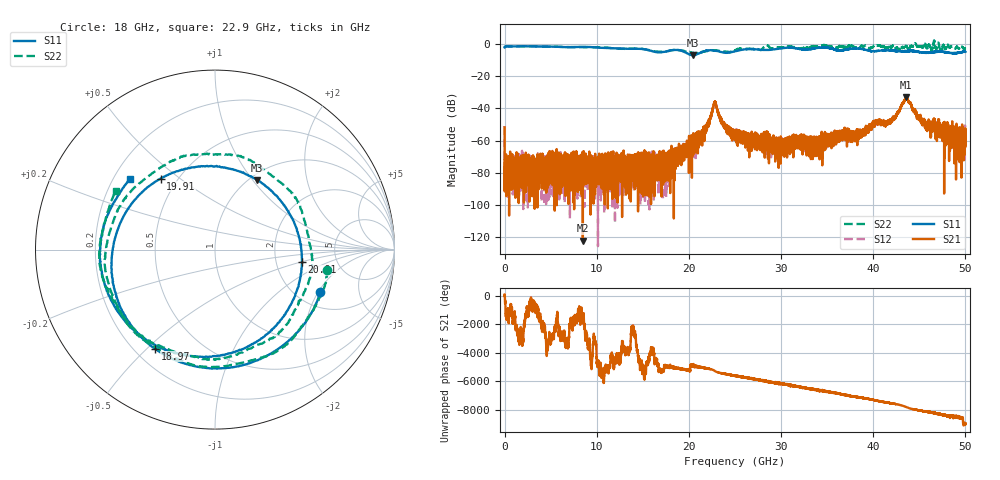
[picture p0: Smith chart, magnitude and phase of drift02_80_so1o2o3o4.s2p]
!Created with skrf (http://scikit-rf.org).
# Hz S RI R 50.0
!freq ReS11 ImS11 ReS21 ImS21 ReS12 ImS12 ReS22 ImS22
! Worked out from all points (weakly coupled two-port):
!   10001 points, 300 kHz to 50 GHz, reference 50 ohm
!   highest |S21| = -33.01 dB at 43.59 GHz (marker M1); lowest = -122.1 dB at 8.49 GHz (marker M2)
!   lowest |S11| = -6.9 dB at 20.41 GHz (marker M3), VSWR 2.65, Z = 54 + j52.4 ohm
!   |S11| at or under -10 dB: nowhere
!   |S22| runs from -5.7 to 2.2 dB; largest |S21 - S12| = 0.0032
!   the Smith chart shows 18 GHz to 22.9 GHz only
!   S11 on the Smith chart (normalised r, x): 18 GHz: 2.64, -2.09; 18.97 GHz: 0.28, -0.53; 19.91 GHz: 0.40, +0.43; 20.91 GHz: 2.81, -0.53; 22.9 GHz: 0.27, +0.34
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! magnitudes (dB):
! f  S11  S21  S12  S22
! 300 kHz  -2.1  -51.8  -51.0  -2.0
! 300.3 MHz  -1.4  -81.7  -79.1  -1.4
! 8.335 GHz  -1.7  -77.9  -75.0  -1.9
! 8.49 GHz  -1.7  -122.1  -77.9  -1.9
! 16.67 GHz  -5.2  -72.3  -81.4  -4.7
! 18 GHz  -4.0  -69.8  -71.3  -3.9
! 18.97 GHz  -3.8  -69.6  -73.3  -3.9
! 19.91 GHz  -6.0  -64.2  -65.1  -5.2
! 20.41 GHz  -6.9  -69.6  -63.7  -5.4
! 20.91 GHz  -6.2  -64.5  -61.3  -5.6
! 21.91 GHz  -4.1  -50.3  -51.4  -4.3
! 22.9 GHz  -4.2  -36.7  -36.8  -3.9
! 23.77 GHz  -5.3  -51.0  -49.5  -4.6
! 25 GHz  -4.5  -57.3  -59.0  -3.9
! 29.8 GHz  -2.8  -61.1  -69.1  -2.0
! 33.34 GHz  -3.0  -60.0  -65.2  -1.5
! 38.26 GHz  -2.7  -55.9  -55.1  -2.2
! 40.32 GHz  -4.4  -49.3  -49.6  -0.8
! 41.67 GHz  -3.9  -47.6  -47.4  -1.9
! 43.59 GHz  -4.6  -33.0  -33.3  -1.5
! 45.64 GHz  -5.3  -49.3  -49.8  0.0
! 50 GHz  -4.8  -62.8  -59.1  -2.7
